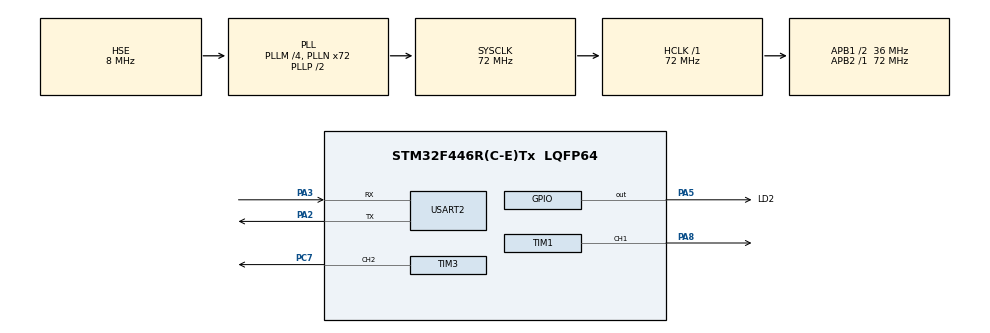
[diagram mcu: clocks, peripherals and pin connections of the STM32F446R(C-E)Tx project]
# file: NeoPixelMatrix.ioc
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Dma.Request0=TIM1_CH1
Dma.Request1=TIM3_CH2
Dma.TIM1_CH1.0.Direction=DMA_MEMORY_TO_PERIPH
Dma.TIM1_CH1.0.FIFOMode=DMA_FIFOMODE_DISABLE
Dma.TIM1_CH1.0.Instance=DMA2_Stream1
Dma.TIM1_CH1.0.MemDataAlignment=DMA_MDATAALIGN_HALFWORD
Dma.TIM1_CH1.0.MemInc=DMA_MINC_ENABLE
Dma.TIM1_CH1.0.Mode=DMA_NORMAL
Dma.TIM1_CH1.0.PeriphDataAlignment=DMA_PDATAALIGN_HALFWORD
Dma.TIM1_CH1.0.PeriphInc=DMA_PINC_DISABLE
Dma.TIM1_CH1.0.Priority=DMA_PRIORITY_LOW
Dma.TIM3_CH2.1.Direction=DMA_MEMORY_TO_PERIPH
Dma.TIM3_CH2.1.FIFOMode=DMA_FIFOMODE_DISABLE
Dma.TIM3_CH2.1.Instance=DMA1_Stream5
Dma.TIM3_CH2.1.MemDataAlignment=DMA_MDATAALIGN_HALFWORD
Dma.TIM3_CH2.1.MemInc=DMA_MINC_ENABLE
Dma.TIM3_CH2.1.Mode=DMA_NORMAL
Dma.TIM3_CH2.1.PeriphDataAlignment=DMA_PDATAALIGN_HALFWORD
Dma.TIM3_CH2.1.PeriphInc=DMA_PINC_DISABLE
Dma.TIM3_CH2.1.Priority=DMA_PRIORITY_LOW
Mcu.Family=STM32F4
Mcu.Name=STM32F446R(C-E)Tx
Mcu.Package=LQFP64
NVIC.DMA1_Stream5_IRQn=true\:0\:0\:false\:false\:true\:false\:true\:true
NVIC.DMA2_Stream1_IRQn=true\:0\:0\:false\:false\:true\:false\:true\:true
NVIC.PriorityGroup=NVIC_PRIORITYGROUP_4
PA2.Mode=Asynchronous
PA2.Signal=USART2_TX
PA3.Mode=Asynchronous
PA3.Signal=USART2_RX
PA5.GPIO_Label=LD2
PA5.Signal=GPIO_Output
PA8.Signal=S_TIM1_CH1
PC7.Signal=S_TIM3_CH2
PH0-OSC_IN.Mode=HSE-External-Clock-Source
PH0-OSC_IN.Signal=RCC_OSC_IN
PH1-OSC_OUT.Mode=HSE-External-Clock-Source
PH1-OSC_OUT.Signal=RCC_OSC_OUT
ProjectManager.HeapSize=0x200
ProjectManager.StackSize=0x400
ProjectManager.TargetToolchain=STM32CubeIDE
RCC.AHBFreq_Value=72000000
RCC.APB1CLKDivider=RCC_HCLK_DIV2
RCC.APB1Freq_Value=36000000
RCC.APB1TimFreq_Value=72000000
RCC.APB2Freq_Value=72000000
RCC.APB2TimFreq_Value=72000000
RCC.CortexFreq_Value=72000000
RCC.HCLKFreq_Value=72000000
RCC.HSE_VALUE=8000000
RCC.PLLM=4
RCC.PLLN=72
RCC.PLLSourceVirtual=RCC_PLLSOURCE_HSE
RCC.SYSCLKFreq_VALUE=72000000
RCC.SYSCLKSource=RCC_SYSCLKSOURCE_PLLCLK
RCC.USBFreq_Value=72000000
RCC.VCOOutputFreq_Value=144000000
SH.S_TIM1_CH1.0=TIM1_CH1,PWM Generation1 CH1
SH.S_TIM3_CH2.0=TIM3_CH2,PWM Generation2 CH2
TIM1.Channel-PWM\ Generation1\ CH1=TIM_CHANNEL_1
TIM1.Period=90-1
TIM3.Channel-PWM\ Generation2\ CH2=TIM_CHANNEL_2
TIM3.Period=90-1
USART2.VirtualMode=VM_ASYNC
VP_TIM1_VS_ClockSourceINT.Mode=Internal
VP_TIM3_VS_ClockSourceINT.Mode=Internal
board=custom

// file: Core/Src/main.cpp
/* USER CODE BEGIN Header */
/**
  ******************************************************************************
  * @file           : main.c
  * @brief          : Main program body
  ******************************************************************************
  * @attention
  *
  * <h2><center>&copy; Copyright (c) 2021 STMicroelectronics.
  * All rights reserved.</center></h2>
  *
  * This software component is licensed by ST under BSD 3-Clause license,
  * the "License"; You may not use this file except in compliance with the
  * License. You may obtain a copy of the License at:
  *                        opensource.org/licenses/BSD-3-Clause
  *
  ******************************************************************************
  */
/* USER CODE END Header */
#include "main.h"

/* USER CODE BEGIN Includes */
#include <stdio.h>
#include <cstring>
#include <math.h>
#include "Matriz.h"
/* USER CODE END Includes */

TIM_HandleTypeDef htim1;
TIM_HandleTypeDef htim3;
DMA_HandleTypeDef hdma_tim1_ch1;
DMA_HandleTypeDef hdma_tim3_ch2;

UART_HandleTypeDef huart2;

/* USER CODE BEGIN PV */
#ifdef __cplusplus
extern "C" {
#endif
#ifdef __GNUC__
#define PUTCHAR_PROTOTYPE int __io_putchar(int ch)
#define GETCHAR_PROTOTYPE int __io_getchar(void)
#else
#define PUTCHAR_PROTOTYPE int fputc(int ch, FILE *f)
#define GETCHAR_PROTOTYPE int fgetc(FILE *f)
#endif

int timeout = 1;
PUTCHAR_PROTOTYPE
{
  HAL_UART_Transmit(&huart2, (uint8_t *)&ch, 1, HAL_MAX_DELAY);
  return ch;
}

GETCHAR_PROTOTYPE
{
  uint8_t ch = 0;

  /* Clear the Overrun flag just before receiving the first character */
  __HAL_UART_CLEAR_OREFLAG(&huart2);

  /* Wait for reception of a character on the USART RX line and echo this
   * character on console */
  HAL_UART_Receive(&huart2, (uint8_t *)&ch, 1, timeout);
  //HAL_UART_Transmit(&huart2, (uint8_t *)&ch, 1, HAL_MAX_DELAY);
  return ch;
}
#ifdef __cplusplus
}
#endif

#define COLS 16
#define ROWS 16
#define DATA_LEN (ROWS*COLS)*4
/* USER CODE END PV */

void SystemClock_Config(void);
static void MX_GPIO_Init(void);
static void MX_DMA_Init(void);
static void MX_TIM1_Init(void);
static void MX_TIM3_Init(void);
static void MX_USART2_UART_Init(void);

/* USER CODE BEGIN 0 */
int datasentflag=0;

void HAL_TIM_PWM_PulseFinishedCallback(TIM_HandleTypeDef *htim)
{
	HAL_TIM_PWM_Stop_DMA(&htim3, TIM_CHANNEL_2);
	datasentflag=1;
}

void WS2812_Send (Matriz& matrix){
	HAL_TIM_PWM_Start_DMA(&htim3, TIM_CHANNEL_2, matrix.GetNeoPixelData(), matrix.NeoPixelDataLength());
	while (!datasentflag){};
	datasentflag = 0;
}

void LoadData(Matriz& matrix, unsigned char *data){
	int r,g,b;
	double y = 0.0;
	for(int i = 0; i<ROWS; i++){
		for(int j = 0; j<COLS; j++){
			r = data[(((i*ROWS) + j) * 4)+0];
			g = data[(((i*ROWS) + j) * 4)+1];
			b = data[(((i*ROWS) + j) * 4)+2];
			y = data[(((i*ROWS) + j) * 4)+3]/100.0;
			matrix.pixel(i, j).SetRGB(r,g,b);
			matrix.pixel(i, j).SetBrillo(y);
		}
	}
}
/* USER CODE END 0 */

int main(void)
{
  /* USER CODE BEGIN 1 */
  setvbuf(stdin, NULL, _IONBF, 0);
  /* USER CODE END 1 */

  /* MCU Configuration--------------------------------------------------------*/

  /* Reset of all peripherals, Initializes the Flash interface and the Systick. */
  HAL_Init();

  /* Configure the system clock */
  SystemClock_Config();

  /* Initialize all configured peripherals */
  MX_GPIO_Init();
  MX_DMA_Init();
  MX_TIM1_Init();
  MX_TIM3_Init();
  MX_USART2_UART_Init();
  /* USER CODE BEGIN 2 */
  int index = 0;
  unsigned char buffer[DATA_LEN];

  Matriz matrix(ROWS, COLS);
  matrix.ClearFrame();

  /* USER CODE END 2 */

  /* Infinite loop */
  while (1)
  {

    /* USER CODE BEGIN 3 */
	  char a, b;
	  unsigned char c;
	  double brillo = 0.0;
	  unsigned char checksum = 0;

	  a = getchar();

	  switch (a)
	  {
	  case '!':
		  /*HAL_GPIO_WritePin(LD2_GPIO_Port, LD2_Pin, GPIO_PIN_SET);
		  HAL_Delay(10);
		  HAL_GPIO_WritePin(LD2_GPIO_Port, LD2_Pin, GPIO_PIN_RESET);
		  HAL_Delay(10);*/
		  memset(buffer, 0, DATA_LEN);
		  printf("#");
		  index = 0;
		  checksum = 0;
		  timeout = 10;
		  while (index < DATA_LEN)
		  {
			  buffer[index] = (unsigned char)getchar();
			  checksum = checksum ^ buffer[index];
			  index++;
		  }
		  HAL_GPIO_WritePin(LD2_GPIO_Port, LD2_Pin, GPIO_PIN_RESET);
		  printf("$=$%c", checksum);
		  timeout = 10;
		  a = getchar();
		  if (a=='%'){
			  HAL_GPIO_WritePin(LD2_GPIO_Port, LD2_Pin, GPIO_PIN_SET);
			  LoadData(matrix, buffer);
			  WS2812_Send (matrix);
		  }
		  HAL_GPIO_WritePin(LD2_GPIO_Port, LD2_Pin, GPIO_PIN_RESET);
		  break;
	  case '|':
		  b = getchar();
		  c = getchar();
		  if (c == '$'){
			  printf("#");
		  }
		  else{
			  printf("-");
		  }
		   b / 100.0;
		  matrix.SetGlobalBrigthness(brillo);
		  WS2812_Send (matrix);
		  break;
	  default:
		  //HAL_GPIO_WritePin(LD2_GPIO_Port, LD2_Pin, GPIO_PIN_SET);
		  //HAL_Delay(50);
		  //HAL_GPIO_WritePin(LD2_GPIO_Port, LD2_Pin, GPIO_PIN_RESET);
		  //HAL_Delay(50);
		  break;

	  }
	  //DrawMario(matrix);
	  //HAL_Delay (30);
  }
  /* USER CODE END 3 */
}

void SystemClock_Config(void)
{
  RCC_OscInitTypeDef RCC_OscInitStruct = {0};
  RCC_ClkInitTypeDef RCC_ClkInitStruct = {0};

  /** Configure the main internal regulator output voltage
  */
  __HAL_RCC_PWR_CLK_ENABLE();
  __HAL_PWR_VOLTAGESCALING_CONFIG(PWR_REGULATOR_VOLTAGE_SCALE3);

  /** Initializes the RCC Oscillators according to the specified parameters
  * in the RCC_OscInitTypeDef structure.
  */
  RCC_OscInitStruct.OscillatorType = RCC_OSCILLATORTYPE_HSE;
  RCC_OscInitStruct.HSEState = RCC_HSE_BYPASS;
  RCC_OscInitStruct.PLL.PLLState = RCC_PLL_ON;
  RCC_OscInitStruct.PLL.PLLSource = RCC_PLLSOURCE_HSE;
  RCC_OscInitStruct.PLL.PLLM = 4;
  RCC_OscInitStruct.PLL.PLLN = 72;
  RCC_OscInitStruct.PLL.PLLP = RCC_PLLP_DIV2;
  RCC_OscInitStruct.PLL.PLLQ = 2;
  RCC_OscInitStruct.PLL.PLLR = 2;
  if (HAL_RCC_OscConfig(&RCC_OscInitStruct) != HAL_OK)
  {
    Error_Handler();
  }

  /** Initializes the CPU, AHB and APB buses clocks
  */
  RCC_ClkInitStruct.ClockType = RCC_CLOCKTYPE_HCLK|RCC_CLOCKTYPE_SYSCLK
                              |RCC_CLOCKTYPE_PCLK1|RCC_CLOCKTYPE_PCLK2;
  RCC_ClkInitStruct.SYSCLKSource = RCC_SYSCLKSOURCE_PLLCLK;
  RCC_ClkInitStruct.AHBCLKDivider = RCC_SYSCLK_DIV1;
  RCC_ClkInitStruct.APB1CLKDivider = RCC_HCLK_DIV2;
  RCC_ClkInitStruct.APB2CLKDivider = RCC_HCLK_DIV1;

  if (HAL_RCC_ClockConfig(&RCC_ClkInitStruct, FLASH_LATENCY_2) != HAL_OK)
  {
    Error_Handler();
  }
}

static void MX_TIM1_Init(void)
{

  TIM_ClockConfigTypeDef sClockSourceConfig = {0};
  TIM_MasterConfigTypeDef sMasterConfig = {0};
  TIM_OC_InitTypeDef sConfigOC = {0};
  TIM_BreakDeadTimeConfigTypeDef sBreakDeadTimeConfig = {0};

  htim1.Instance = TIM1;
  htim1.Init.Prescaler = 0;
  htim1.Init.CounterMode = TIM_COUNTERMODE_UP;
  htim1.Init.Period = 90-1;
  htim1.Init.ClockDivision = TIM_CLOCKDIVISION_DIV1;
  htim1.Init.RepetitionCounter = 0;
  htim1.Init.AutoReloadPreload = TIM_AUTORELOAD_PRELOAD_DISABLE;
  if (HAL_TIM_Base_Init(&htim1) != HAL_OK)
  {
    Error_Handler();
  }
  sClockSourceConfig.ClockSource = TIM_CLOCKSOURCE_INTERNAL;
  if (HAL_TIM_ConfigClockSource(&htim1, &sClockSourceConfig) != HAL_OK)
  {
    Error_Handler();
  }
  if (HAL_TIM_PWM_Init(&htim1) != HAL_OK)
  {
    Error_Handler();
  }
  sMasterConfig.MasterOutputTrigger = TIM_TRGO_RESET;
  sMasterConfig.MasterSlaveMode = TIM_MASTERSLAVEMODE_DISABLE;
  if (HAL_TIMEx_MasterConfigSynchronization(&htim1, &sMasterConfig) != HAL_OK)
  {
    Error_Handler();
  }
  sConfigOC.OCMode = TIM_OCMODE_PWM1;
  sConfigOC.Pulse = 0;
  sConfigOC.OCPolarity = TIM_OCPOLARITY_HIGH;
  sConfigOC.OCNPolarity = TIM_OCNPOLARITY_HIGH;
  sConfigOC.OCFastMode = TIM_OCFAST_DISABLE;
  sConfigOC.OCIdleState = TIM_OCIDLESTATE_RESET;
  sConfigOC.OCNIdleState = TIM_OCNIDLESTATE_RESET;
  if (HAL_TIM_PWM_ConfigChannel(&htim1, &sConfigOC, TIM_CHANNEL_1) != HAL_OK)
  {
    Error_Handler();
  }
  sBreakDeadTimeConfig.OffStateRunMode = TIM_OSSR_DISABLE;
  sBreakDeadTimeConfig.OffStateIDLEMode = TIM_OSSI_DISABLE;
  sBreakDeadTimeConfig.LockLevel = TIM_LOCKLEVEL_OFF;
  sBreakDeadTimeConfig.DeadTime = 0;
  sBreakDeadTimeConfig.BreakState = TIM_BREAK_DISABLE;
  sBreakDeadTimeConfig.BreakPolarity = TIM_BREAKPOLARITY_HIGH;
  sBreakDeadTimeConfig.AutomaticOutput = TIM_AUTOMATICOUTPUT_DISABLE;
  if (HAL_TIMEx_ConfigBreakDeadTime(&htim1, &sBreakDeadTimeConfig) != HAL_OK)
  {
    Error_Handler();
  }
  HAL_TIM_MspPostInit(&htim1);

}

static void MX_TIM3_Init(void)
{

  TIM_ClockConfigTypeDef sClockSourceConfig = {0};
  TIM_MasterConfigTypeDef sMasterConfig = {0};
  TIM_OC_InitTypeDef sConfigOC = {0};

  htim3.Instance = TIM3;
  htim3.Init.Prescaler = 0;
  htim3.Init.CounterMode = TIM_COUNTERMODE_UP;
  htim3.Init.Period = 90-1;
  htim3.Init.ClockDivision = TIM_CLOCKDIVISION_DIV1;
  htim3.Init.AutoReloadPreload = TIM_AUTORELOAD_PRELOAD_DISABLE;
  if (HAL_TIM_Base_Init(&htim3) != HAL_OK)
  {
    Error_Handler();
  }
  sClockSourceConfig.ClockSource = TIM_CLOCKSOURCE_INTERNAL;
  if (HAL_TIM_ConfigClockSource(&htim3, &sClockSourceConfig) != HAL_OK)
  {
    Error_Handler();
  }
  if (HAL_TIM_PWM_Init(&htim3) != HAL_OK)
  {
    Error_Handler();
  }
  sMasterConfig.MasterOutputTrigger = TIM_TRGO_RESET;
  sMasterConfig.MasterSlaveMode = TIM_MASTERSLAVEMODE_DISABLE;
  if (HAL_TIMEx_MasterConfigSynchronization(&htim3, &sMasterConfig) != HAL_OK)
  {
    Error_Handler();
  }
  sConfigOC.OCMode = TIM_OCMODE_PWM1;
  sConfigOC.Pulse = 0;
  sConfigOC.OCPolarity = TIM_OCPOLARITY_HIGH;
  sConfigOC.OCFastMode = TIM_OCFAST_DISABLE;
  if (HAL_TIM_PWM_ConfigChannel(&htim3, &sConfigOC, TIM_CHANNEL_2) != HAL_OK)
  {
    Error_Handler();
  }
  HAL_TIM_MspPostInit(&htim3);

}

static void MX_USART2_UART_Init(void)
{

  huart2.Instance = USART2;
  huart2.Init.BaudRate = 115200;
  huart2.Init.WordLength = UART_WORDLENGTH_8B;
  huart2.Init.StopBits = UART_STOPBITS_1;
  huart2.Init.Parity = UART_PARITY_NONE;
  huart2.Init.Mode = UART_MODE_TX_RX;
  huart2.Init.HwFlowCtl = UART_HWCONTROL_NONE;
  huart2.Init.OverSampling = UART_OVERSAMPLING_16;
  if (HAL_UART_Init(&huart2) != HAL_OK)
  {
    Error_Handler();
  }

}

static void MX_DMA_Init(void)
{

  /* DMA controller clock enable */
  __HAL_RCC_DMA2_CLK_ENABLE();
  __HAL_RCC_DMA1_CLK_ENABLE();

  /* DMA interrupt init */
  /* DMA1_Stream5_IRQn interrupt configuration */
  HAL_NVIC_SetPriority(DMA1_Stream5_IRQn, 0, 0);
  HAL_NVIC_EnableIRQ(DMA1_Stream5_IRQn);
  /* DMA2_Stream1_IRQn interrupt configuration */
  HAL_NVIC_SetPriority(DMA2_Stream1_IRQn, 0, 0);
  HAL_NVIC_EnableIRQ(DMA2_Stream1_IRQn);

}

static void MX_GPIO_Init(void)
{
  GPIO_InitTypeDef GPIO_InitStruct = {0};

  /* GPIO Ports Clock Enable */
  __HAL_RCC_GPIOH_CLK_ENABLE();
  __HAL_RCC_GPIOA_CLK_ENABLE();
  __HAL_RCC_GPIOC_CLK_ENABLE();

  /*Configure GPIO pin Output Level */
  HAL_GPIO_WritePin(LD2_GPIO_Port, LD2_Pin, GPIO_PIN_RESET);

  /*Configure GPIO pin : LD2_Pin */
  GPIO_InitStruct.Pin = LD2_Pin;
  GPIO_InitStruct.Mode = GPIO_MODE_OUTPUT_PP;
  GPIO_InitStruct.Pull = GPIO_NOPULL;
  GPIO_InitStruct.Speed = GPIO_SPEED_FREQ_LOW;
  HAL_GPIO_Init(LD2_GPIO_Port, &GPIO_InitStruct);

}

void Error_Handler(void)
{
  /* USER CODE BEGIN Error_Handler_Debug */
  /* User can add his own implementation to report the HAL error return state */
  __disable_irq();
  while (1)
  {
	  HAL_GPIO_WritePin(LD2_GPIO_Port, LD2_Pin, GPIO_PIN_SET);
	  HAL_Delay(2000);
	  HAL_GPIO_WritePin(LD2_GPIO_Port, LD2_Pin, GPIO_PIN_RESET);
	  HAL_Delay(2000);
  }
  /* USER CODE END Error_Handler_Debug */
}
